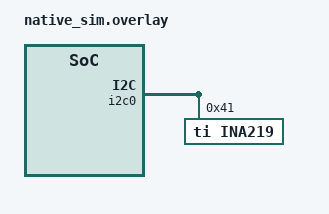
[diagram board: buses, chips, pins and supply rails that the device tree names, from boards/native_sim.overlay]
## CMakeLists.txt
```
cmake_minimum_required(VERSION 3.28)

list(APPEND CMAKE_MODULE_PATH $ENV{APP_ROOT}/cmake)
include(util)

ProjectTestSetup("testing")

find_package(Zephyr REQUIRED HINTS $ENV{ZEPHYR_BASE})

project(hello-world-test LANGUAGES C CXX ASM)

SetupTarget(app true)

target_sources(app PRIVATE
    src/main.cpp
    src/ina219_emul.c
    $ENV{APP_ROOT}/src/events.cpp
)

target_include_directories(app PRIVATE
    src
    $ENV{APP_ROOT}/src/monitor
)
```

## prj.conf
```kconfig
CONFIG_ZTEST=y
CONFIG_MONITOR_MODULE=y
CONFIG_SENSOR=y
CONFIG_INA219=y
CONFIG_EMUL=y
CONFIG_I2C_EMUL=y
CONFIG_LOG_DEFAULT_LEVEL=3
```

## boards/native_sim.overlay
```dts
&i2c0 {
	ina219: ina219@41 {
		compatible = "ti,ina219";
		reg = <0x41>;
		lsb-microamp = <100>;
		shunt-milliohm = <100>;
		brng = <1>;
		pg = <3>;
		badc = <13>;
		sadc = <13>;
	};
};

/ {
	aliases {
		battery-sensor = &ina219;
	};
};
```

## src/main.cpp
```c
#include <zephyr/device.h>
#include <zephyr/devicetree.h>
#include <zephyr/drivers/emul.h>
#include <zephyr/drivers/i2c_emul.h>
#include <zephyr/drivers/sensor.h>
#include <zephyr/ztest.h>
#include <zephyr/ztest_assert.h>

#include "battery_info_event.hpp"
#include "core_status_event.hpp"
#include "ina219_emul.h"
#include "lpm_response_event.hpp"
#include "monitor/monitor.hpp"
#include "util.hpp"

#define INA219_NODE DT_ALIAS(battery_sensor)

static const struct device *ina219_dev;
static const struct emul *mock;

K_MSGQ_DEFINE(lpm_response_msgq, sizeof(LpmResponseEvent), 4, 4);
K_MSGQ_DEFINE(battery_info_msgq, sizeof(BatteryInfoEvent), 4, 4);

template <typename TEvent> void push_lpm_response(const zbus_channel *channel)
{
    const auto *event = get_zbus_event<TEvent>(channel);
    LpmResponseEvent resp = *event;
    k_msgq_put(&lpm_response_msgq, &resp, K_NO_WAIT);
}

static void lpm_listener_callback(const struct zbus_channel *channel) // NOLINT
{
    if (channel == &LpmResponseEventChan)
    {
        push_lpm_response<LpmResponseEvent>(channel);
    }
    else if (channel == &BatteryInfoEventChan)
    {
        const auto       *event = get_zbus_event<BatteryInfoEvent>(channel);
        BatteryInfoEvent info   = *event;
        k_msgq_put(&battery_info_msgq, &info, K_NO_WAIT);
    }
    else
    {
        __ASSERT(false, "Channel %s is being listened to but not processed", channel->name);
    }
}

ZBUS_LISTENER_DEFINE(monitor_lpm_listener, lpm_listener_callback);
ZBUS_CHAN_ADD_OBS(LpmResponseEventChan, monitor_lpm_listener, zbus_default_priority);
ZBUS_CHAN_ADD_OBS(BatteryInfoEventChan, monitor_lpm_listener, zbus_default_priority);

static void *setup(void)
{
    ina219_dev = DEVICE_DT_GET(INA219_NODE);
    zassert_not_null(ina219_dev);

    mock = EMUL_DT_GET(DT_NODELABEL(ina219));
    zassert_not_null(mock);

    int ret = monitor::monitor_init().has_value() ? 0 : -1;
    zassert_equal(ret, 0, "monitor_init() should succeed");

    return NULL;
}

ZTEST(monitor_ina219, test_bus_voltage)
{
    /* Set bus voltage register for 12.0V reading.
     * VBUS_GET(x) = (x >> 3) & 0x3FFF, voltage = VBUS_GET * 0.004
     * For 12.0V: VBUS_GET = 3000, register = (3000 << 3) | 0x02(CNVR) = 0x5DC2
     */
    uint16_t vbus_reg = 0x5DC2;
    zassert_ok(ina219_mock_set_register(mock->data, INA219_EMUL_REG_V_BUS, vbus_reg));

    zassert_ok(ina219_mock_set_register(mock->data, INA219_EMUL_REG_CURRENT, 1000));

    sat_BatteryStatus result = monitor::read_ina219();
    zassert_true(result.set, "Battery should be set");

    zassert_within(12.0F, static_cast<double>(result.voltage), 0.01F,
                   "Expected ~12.0V, got %.2fV", static_cast<double>(result.voltage));
}

ZTEST(monitor_ina219, test_positive_current)
{
    uint16_t raw_voltage = (uint16_t)(11.5F / 0.004F) << 3 | 0x02;
    zassert_ok(ina219_mock_set_register(mock->data, INA219_EMUL_REG_V_BUS, raw_voltage));

    /* Set current register: 1.0A = 1000 (with current_lsb=100, 1000*100*1e-5 = 1.0A) */
    zassert_ok(ina219_mock_set_register(mock->data, INA219_EMUL_REG_CURRENT, 1000));

    sat_BatteryStatus result = monitor::read_ina219();
    zassert_true(result.set);

    zassert_within(1.0F, static_cast<double>(result.current), 0.01F,
                   "Expected ~1.0A, got %.2fA", static_cast<double>(result.current));
}

ZTEST(monitor_ina219, test_negative_current_discharge)
{
    uint16_t raw_voltage = (uint16_t)(11.0F / 0.004F) << 3 | 0x02;
    zassert_ok(ina219_mock_set_register(mock->data, INA219_EMUL_REG_V_BUS, raw_voltage));

    /* Set current register: -1.0A = two's complement of 1000 = 0xFC18 */
    zassert_ok(ina219_mock_set_register(mock->data, INA219_EMUL_REG_CURRENT, 0xFC18));

    sat_BatteryStatus result = monitor::read_ina219();
    zassert_true(result.set);

    zassert_within(-1.0F, static_cast<double>(result.current), 0.01F,
                   "Expected ~-1.0A, got %.2fA", static_cast<double>(result.current));
}

ZTEST(monitor_ina219, test_zero_current)
{
    uint16_t raw_voltage = (uint16_t)(12.6F / 0.004F) << 3 | 0x02;
    zassert_ok(ina219_mock_set_register(mock->data, INA219_EMUL_REG_V_BUS, raw_voltage));

    zassert_ok(ina219_mock_set_register(mock->data, INA219_EMUL_REG_CURRENT, 0));

    sat_BatteryStatus result = monitor::read_ina219();
    zassert_true(result.set);

    zassert_within(0.0F, static_cast<double>(result.current), 0.001F,
                   "Expected ~0.0A, got %.2fA", static_cast<double>(result.current));
    zassert_within(12.6F, static_cast<double>(result.voltage), 0.01F,
                   "Expected ~12.6V, got %.2fV", static_cast<double>(result.voltage));
}

ZTEST(monitor_ina219, test_multiple_reads)
{
    uint16_t vbus_1 = (uint16_t)(11.0F / 0.004F) << 3 | 0x02;
    zassert_ok(ina219_mock_set_register(mock->data, INA219_EMUL_REG_V_BUS, vbus_1));
    zassert_ok(ina219_mock_set_register(mock->data, INA219_EMUL_REG_CURRENT, 500));

    sat_BatteryStatus r1 = monitor::read_ina219();
    zassert_true(r1.set);
    zassert_within(11.0F, static_cast<double>(r1.voltage), 0.01F, "First read: expected 11.0V, got %.2fV", static_cast<double>(r1.voltage));
    zassert_within(0.5F, static_cast<double>(r1.current), 0.01F, "First read: expected 0.5A, got %.2fA", static_cast<double>(r1.current));

    uint16_t vbus_2 = (uint16_t)(12.6F / 0.004F) << 3 | 0x02;
    zassert_ok(ina219_mock_set_register(mock->data, INA219_EMUL_REG_V_BUS, vbus_2));
    zassert_ok(ina219_mock_set_register(mock->data, INA219_EMUL_REG_CURRENT, 0xFC18));

    sat_BatteryStatus r2 = monitor::read_ina219();
    zassert_true(r2.set);
    zassert_within(12.6F, static_cast<double>(r2.voltage), 0.01F, "Second read: expected 12.6V, got %.2fV", static_cast<double>(r2.voltage));
    zassert_within(-1.0F, static_cast<double>(r2.current), 0.01F, "Second read: expected -1.0A, got %.2fA", static_cast<double>(r2.current));
}

ZTEST(monitor_ina219, test_status_request_reply)
{
    k_msgq_purge(&lpm_response_msgq);

    uint16_t raw_voltage = (uint16_t)(12.0F / 0.004F) << 3 | 0x02;
    zassert_ok(ina219_mock_set_register(mock->data, INA219_EMUL_REG_V_BUS, raw_voltage));
    zassert_ok(ina219_mock_set_register(mock->data, INA219_EMUL_REG_CURRENT, 1000));

    constexpr uint32_t msg_id = 7;
    CoreStatusEvent    event{};
    event.msg_id = msg_id, event.camera = Status::online;
    publish_zbus_event(event);

    LpmResponseEvent resp{};
    int              ret = k_msgq_get(&lpm_response_msgq, &resp, K_SECONDS(2));
    zassert_equal(ret, 0, "Monitor should respond to a status request");

    zassert_equal(resp.msg_id, msg_id);
    zassert_equal(resp.response, sat_LpmReply_Response_OK);
    zassert_true(resp.battery.has_value(), "Status reply should include battery data");
    zassert_within(12.0F, static_cast<double>(resp.battery->voltage), 0.01F,
                   "Expected ~12.0V, got %.2fV", static_cast<double>(resp.battery->voltage));
    zassert_within(1.0F, static_cast<double>(resp.battery->current), 0.01F,
                   "Expected ~1.0A, got %.2fA", static_cast<double>(resp.battery->current));
}

ZTEST(monitor_ina219, test_sample_fetch_failure)
{
    ina219_mock_set_transfer_error(-EIO);

    sat_BatteryStatus result = monitor::read_ina219();

    zassert_false(result.set, "A fetch failure should yield an invalid sample");
    zassert_equal(result.voltage, 0.0F);
    zassert_equal(result.current, 0.0F);
}

ZTEST(monitor_ina219, test_battery_info_published)
{
    uint16_t raw_voltage = (uint16_t)(12.0F / 0.004F) << 3 | 0x02;
    zassert_ok(ina219_mock_set_register(mock->data, INA219_EMUL_REG_V_BUS, raw_voltage));
    zassert_ok(ina219_mock_set_register(mock->data, INA219_EMUL_REG_CURRENT, 1000));

    k_msgq_purge(&battery_info_msgq);
    monitor::publish_battery_sample();

    BatteryInfoEvent info{};
    zassert_ok(k_msgq_get(&battery_info_msgq, &info, K_SECONDS(1)),
               "Expected a BatteryInfoEvent");

    zassert_true(info.valid, "Battery sample should be valid");
    zassert_within(12.0F, static_cast<double>(info.voltage), 0.01F,
                   "Expected ~12.0V, got %.2fV", static_cast<double>(info.voltage));
    zassert_within(1.0F, static_cast<double>(info.current), 0.01F,
                   "Expected ~1.0A, got %.2fA", static_cast<double>(info.current));
    zassert_within(12.0F, static_cast<double>(info.power), 0.1F,
                   "Expected ~12.0W, got %.2fW", static_cast<double>(info.power));
}

static void after(void * /*unused*/)
{
    ina219_mock_set_transfer_error(0);
}

ZTEST_SUITE(monitor_ina219, NULL, setup, NULL, after, NULL);
```

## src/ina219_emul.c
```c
/*
 * Emulator for the TI INA219 I2C power monitor
 *
 * Emulates the I2C register interface of the INA219 so that
 * the real Zephyr INA219 sensor driver can be tested on native_sim.
 */

#include <zephyr/device.h>
#include <zephyr/drivers/emul.h>
#include <zephyr/drivers/i2c_emul.h>
#include <zephyr/drivers/i2c.h>
#include <zephyr/logging/log.h>
#include <zephyr/sys/byteorder.h>

#include "ina219_emul.h"

LOG_MODULE_REGISTER(INA219_EMUL, CONFIG_SENSOR_LOG_LEVEL);

#define INA219_NUM_REGS 6

struct ina219_reg {
    uint8_t id;
    uint16_t value;
};

struct ina219_emul_cfg {
    uint16_t addr;
};

struct ina219_emul_data {
    struct ina219_reg regs[INA219_NUM_REGS];
};

static struct ina219_reg *get_register(struct ina219_emul_data *data, int reg)
{
    for (int i = 0; i < INA219_NUM_REGS; i++)
    {
        if (data->regs[i].id == reg)
        {
            return &data->regs[i];
        }
    }
    return NULL;
}

int ina219_mock_set_register(void *data_ptr, int reg, uint16_t value)
{
    struct ina219_reg *reg_ptr = get_register(data_ptr, reg);
    if (reg_ptr == NULL)
    {
        return -EINVAL;
    }
    reg_ptr->value = value;
    return 0;
}

int ina219_mock_get_register(void *data_ptr, int reg, uint16_t *value_ptr)
{
    struct ina219_reg *reg_ptr = get_register(data_ptr, reg);
    if (reg_ptr == NULL || value_ptr == NULL)
    {
        return -EINVAL;
    }
    *value_ptr = reg_ptr->value;
    return 0;
}

static int forced_transfer_error;

void ina219_mock_set_transfer_error(int error)
{
    forced_transfer_error = error;
}

static int ina219_emul_transfer_i2c(const struct emul *target, struct i2c_msg msgs[], int num_msgs,
                                    int addr)
{
    struct ina219_emul_data *data = (struct ina219_emul_data *)target->data;
    ARG_UNUSED(addr);

    if (forced_transfer_error != 0)
    {
        return forced_transfer_error;
    }

    if (!msgs || num_msgs < 1 || num_msgs > 2)
    {
        LOG_ERR("Invalid number of messages: %d", num_msgs);
        return -EIO;
    }

    if (msgs[0].flags & I2C_MSG_READ)
    {
        LOG_ERR("Expected write");
        return -EIO;
    }

    if (num_msgs == 1)
    {
        /* Write16 Transaction: [reg, hi, lo] */
        if (msgs[0].len != 3)
        {
            LOG_ERR("Expected 3 bytes for write, got %d", msgs[0].len);
            return -EIO;
        }

        uint8_t reg = msgs[0].buf[0];
        uint16_t val = sys_get_be16(&msgs[0].buf[1]);

        struct ina219_reg *reg_ptr = get_register(data, reg);
        if (!reg_ptr)
        {
            LOG_ERR("Invalid register: %02x", reg);
            return -EIO;
        }
        reg_ptr->value = val;
        LOG_DBG("Write reg %02x: %04x", reg, val);
    }
    else
    {
        /* Read Transaction: [reg] + read 2 bytes */
        if ((msgs[1].flags & I2C_MSG_READ) == 0)
        {
            LOG_ERR("Expected read");
            return -EIO;
        }

        uint8_t reg = msgs[0].buf[0];
        struct ina219_reg *reg_ptr = get_register(data, reg);

        if (!reg_ptr)
        {
            LOG_ERR("Invalid register: %02x", reg);
            return -EIO;
        }

        if (msgs[1].len != 2)
        {
            LOG_ERR("Expected 2 bytes for read, got %d", msgs[1].len);
            return -EIO;
        }

        sys_put_be16(reg_ptr->value, msgs[1].buf);
        LOG_DBG("Read reg %02x: %04x", reg, reg_ptr->value);
    }

    return 0;
}

static int ina219_emul_init(const struct emul *target, const struct device *parent)
{
    ARG_UNUSED(target);
    ARG_UNUSED(parent);
    return 0;
}

static const struct i2c_emul_api ina219_emul_api_i2c = {
    .transfer = ina219_emul_transfer_i2c,
};

#define INA219_EMUL_INIT(n)                                                                        \
    static struct ina219_emul_data ina219_emul_data_##n = {                                        \
        .regs = {                                                                                  \
            {INA219_EMUL_REG_CONF,     0x399F},                                                    \
            {INA219_EMUL_REG_V_SHUNT,  0x0000},                                                    \
            {INA219_EMUL_REG_V_BUS,    0x0004},                                                    \
            {INA219_EMUL_REG_POWER,    0x0000},                                                    \
            {INA219_EMUL_REG_CURRENT,  0x0000},                                                    \
            {INA219_EMUL_REG_CALIB,    0x0000},                                                    \
        },                                                                                         \
    };                                                                                             \
    static const struct ina219_emul_cfg ina219_emul_cfg_##n = {                                    \
        .addr = DT_INST_REG_ADDR(n),                                                               \
    };                                                                                             \
    EMUL_DT_INST_DEFINE(n, ina219_emul_init, &ina219_emul_data_##n, &ina219_emul_cfg_##n,          \
                        &ina219_emul_api_i2c, NULL)

#undef DT_DRV_COMPAT
#define DT_DRV_COMPAT ti_ina219
DT_INST_FOREACH_STATUS_OKAY(INA219_EMUL_INIT)
```

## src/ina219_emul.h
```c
/*
 * Emulator for the TI INA219 I2C power monitor
 */

#ifndef INA219_EMUL_H_
#define INA219_EMUL_H_

#include <stdint.h>

#ifdef __cplusplus
extern "C" {
#endif

/* INA219 register addresses */
#define INA219_EMUL_REG_CONF      0x00
#define INA219_EMUL_REG_V_SHUNT   0x01
#define INA219_EMUL_REG_V_BUS     0x02
#define INA219_EMUL_REG_POWER     0x03
#define INA219_EMUL_REG_CURRENT   0x04
#define INA219_EMUL_REG_CALIB     0x05

int ina219_mock_set_register(void *data_ptr, int reg, uint16_t value);
int ina219_mock_get_register(void *data_ptr, int reg, uint16_t *value_ptr);

/* Forces every I2C transfer to fail with `error` until reset to 0. */
void ina219_mock_set_transfer_error(int error);

#ifdef __cplusplus
}
#endif

#endif /* INA219_EMUL_H_ */
```
